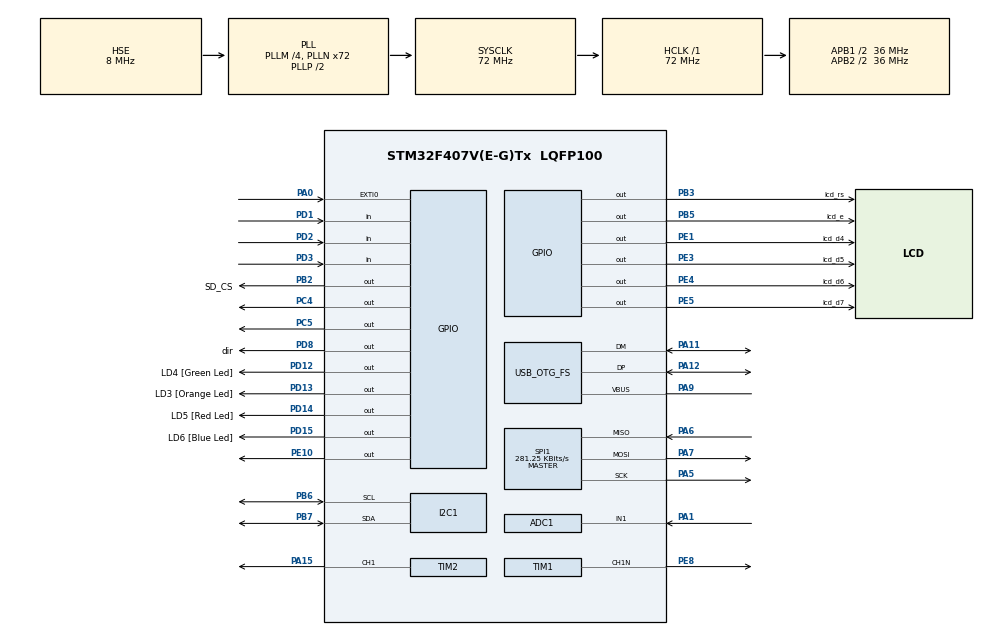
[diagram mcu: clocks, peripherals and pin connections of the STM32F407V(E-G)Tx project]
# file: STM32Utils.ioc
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ADC1.Channel-1\#ChannelRegularConversion=ADC_CHANNEL_1
ADC1.ClockPrescaler=ADC_CLOCK_SYNC_PCLK_DIV2
ADC1.ContinuousConvMode=ENABLE
ADC1.DMAContinuousRequests=ENABLE
ADC1.NbrOfConversionFlag=1
ADC1.Rank-1\#ChannelRegularConversion=1
ADC1.SamplingTime-1\#ChannelRegularConversion=ADC_SAMPLETIME_56CYCLES
ADC1.ScanConvMode=DISABLE
ADC1.master=1
Dma.ADC1.0.Direction=DMA_PERIPH_TO_MEMORY
Dma.ADC1.0.FIFOMode=DMA_FIFOMODE_DISABLE
Dma.ADC1.0.Instance=DMA2_Stream0
Dma.ADC1.0.MemDataAlignment=DMA_MDATAALIGN_WORD
Dma.ADC1.0.MemInc=DMA_MINC_ENABLE
Dma.ADC1.0.Mode=DMA_CIRCULAR
Dma.ADC1.0.PeriphDataAlignment=DMA_PDATAALIGN_WORD
Dma.ADC1.0.PeriphInc=DMA_PINC_DISABLE
Dma.ADC1.0.Priority=DMA_PRIORITY_MEDIUM
Dma.Request0=ADC1
Mcu.Family=STM32F4
Mcu.Name=STM32F407V(E-G)Tx
Mcu.Package=LQFP100
NVIC.DMA2_Stream0_IRQn=true\:0\:0\:false\:false\:true\:false\:true\:true
NVIC.EXTI0_IRQn=true\:0\:0\:false\:false\:true\:true\:true\:true
NVIC.OTG_FS_IRQn=true\:0\:0\:false\:false\:true\:false\:true\:true
NVIC.PriorityGroup=NVIC_PRIORITYGROUP_0
NVIC.TIM1_CC_IRQn=true\:0\:0\:false\:false\:true\:true\:true\:true
PA0-WKUP.GPIO_ModeDefaultEXTI=GPIO_MODE_IT_RISING
PA0-WKUP.Signal=GPXTI0
PA1.Signal=ADCx_IN1
PA11.Mode=Device_Only
PA11.Signal=USB_OTG_FS_DM
PA12.Mode=Device_Only
PA12.Signal=USB_OTG_FS_DP
PA13.GPIO_Label=SWDIO
PA13.Mode=Serial_Wire
PA13.Signal=SYS_JTMS-SWDIO
PA14.GPIO_Label=SWCLK
PA14.Mode=Serial_Wire
PA14.Signal=SYS_JTCK-SWCLK
PA15.Signal=S_TIM2_CH1_ETR
PA5.Mode=Full_Duplex_Master
PA5.Signal=SPI1_SCK
PA6.Mode=Full_Duplex_Master
PA6.Signal=SPI1_MISO
PA7.Mode=Full_Duplex_Master
PA7.Signal=SPI1_MOSI
PA9.Mode=Activate_VBUS
PA9.Signal=USB_OTG_FS_VBUS
PB2.GPIO_Label=SD_CS
PB2.Signal=GPIO_Output
PB3.GPIO_Label=lcd_rs
PB3.Signal=GPIO_Output
PB5.GPIO_Label=lcd_e
PB5.Signal=GPIO_Output
PB6.GPIO_Pu=GPIO_NOPULL
PB6.Mode=I2C
PB6.Signal=I2C1_SCL
PB7.GPIO_Pu=GPIO_NOPULL
PB7.Mode=I2C
PB7.Signal=I2C1_SDA
PC14-OSC32_IN.Mode=LSE-External-Oscillator
PC14-OSC32_IN.Signal=RCC_OSC32_IN
PC15-OSC32_OUT.Mode=LSE-External-Oscillator
PC15-OSC32_OUT.Signal=RCC_OSC32_OUT
PC4.Signal=GPIO_Output
PC5.Signal=GPIO_Output
PD1.GPIO_PuPd=GPIO_PULLUP
PD1.Signal=GPIO_Input
PD12.GPIO_Label=LD4 [Green Led]
PD12.GPIO_PuPd=GPIO_NOPULL
PD12.GPIO_Speed=GPIO_SPEED_FREQ_LOW
PD12.Signal=GPIO_Output
PD13.GPIO_Label=LD3 [Orange Led]
PD13.GPIO_PuPd=GPIO_NOPULL
PD13.GPIO_Speed=GPIO_SPEED_FREQ_LOW
PD13.Signal=GPIO_Output
PD14.GPIO_Label=LD5 [Red Led]
PD14.GPIO_PuPd=GPIO_NOPULL
PD14.GPIO_Speed=GPIO_SPEED_FREQ_LOW
PD14.Signal=GPIO_Output
PD15.GPIO_Label=LD6 [Blue Led]
PD15.GPIO_PuPd=GPIO_NOPULL
PD15.GPIO_Speed=GPIO_SPEED_FREQ_LOW
PD15.Signal=GPIO_Output
PD2.GPIO_PuPd=GPIO_PULLUP
PD2.Signal=GPIO_Input
PD3.GPIO_PuPd=GPIO_PULLUP
PD3.Signal=GPIO_Input
PD8.GPIO_Label=dir
PD8.Signal=GPIO_Output
PE1.GPIO_Label=lcd_d4
PE1.Signal=GPIO_Output
PE10.Signal=GPIO_Output
PE3.GPIO_Label=lcd_d5
PE3.Signal=GPIO_Output
PE4.GPIO_Label=lcd_d6
PE4.Signal=GPIO_Output
PE5.GPIO_Label=lcd_d7
PE5.Signal=GPIO_Output
PE8.Mode=PWM Generation1 CH1N
PE8.Signal=TIM1_CH1N
PH0-OSC_IN.GPIO_Label=PH0-OSC_IN
PH0-OSC_IN.Mode=HSE-External-Clock-Source
PH0-OSC_IN.Signal=RCC_OSC_IN
PH1-OSC_OUT.GPIO_Label=PH1-OSC_OUT
PH1-OSC_OUT.Mode=HSE-External-Clock-Source
PH1-OSC_OUT.Signal=RCC_OSC_OUT
ProjectManager.HeapSize=0x200
ProjectManager.StackSize=0x400
ProjectManager.TargetToolchain=STM32CubeIDE
RCC.48MHZClocksFreq_Value=48000000
RCC.AHBFreq_Value=72000000
RCC.APB1CLKDivider=RCC_HCLK_DIV2
RCC.APB1Freq_Value=36000000
RCC.APB1TimFreq_Value=72000000
RCC.APB2CLKDivider=RCC_HCLK_DIV2
RCC.APB2Freq_Value=36000000
RCC.APB2TimFreq_Value=72000000
RCC.CortexFreq_Value=72000000
RCC.HCLKFreq_Value=72000000
RCC.HSE_VALUE=8000000
RCC.HSI_VALUE=16000000
RCC.PLLI2SN=50
RCC.PLLM=4
RCC.PLLN=72
RCC.PLLQ=3
RCC.SYSCLKFreq_VALUE=72000000
RCC.SYSCLKSource=RCC_SYSCLKSOURCE_PLLCLK
RCC.VCOOutputFreq_Value=144000000
SH.ADCx_IN1.0=ADC1_IN1,IN1
SH.S_TIM2_CH1_ETR.0=TIM2_CH1,PWM Generation1 CH1
SPI1.BaudRatePrescaler=SPI_BAUDRATEPRESCALER_128
SPI1.CalculateBaudRate=281.25 KBits/s
SPI1.Direction=SPI_DIRECTION_2LINES
SPI1.Mode=SPI_MODE_MASTER
SPI1.VirtualType=VM_MASTER
TIM1.Channel-PWM\ Generation1\ CH1N=TIM_CHANNEL_1
TIM1.Period=1000
TIM1.Prescaler=71
TIM2.Channel-PWM\ Generation1\ CH1=TIM_CHANNEL_1
TIM2.Period=19999
TIM2.Prescaler=72
USB_DEVICE.CLASS_NAME_FS=CDC
USB_DEVICE.VirtualMode-CDC_FS=Cdc
USB_DEVICE.VirtualModeFS=Cdc_FS
USB_OTG_FS.VirtualMode=Device_Only
VP_CRC_VS_CRC.Mode=CRC_Activate
VP_FATFS_VS_Generic.Mode=User_defined
VP_TIM1_VS_ClockSourceINT.Mode=Internal
VP_TIM2_VS_ClockSourceINT.Mode=Internal
VP_USB_DEVICE_VS_USB_DEVICE_CDC_FS.Mode=CDC_FS
board=STM32F407G-DISC1

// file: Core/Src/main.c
/* USER CODE BEGIN Header */
/**
  ******************************************************************************
  * @file           : main.c
  * @brief          : Main program body
  ******************************************************************************
  * @attention
  *
  * Copyright (c) 2024 STMicroelectronics.
  * All rights reserved.
  *
  * This software is licensed under terms that can be found in the LICENSE file
  * in the root directory of this software component.
  * If no LICENSE file comes with this software, it is provided AS-IS.
  *
  ******************************************************************************
  */
/* USER CODE END Header */
#include "main.h"
#include "fatfs.h"
#include "usb_device.h"

/* USER CODE BEGIN Includes */
#include "usbd_cdc_if.h"
#include "STEP_MOTOR_lib.h"
#include "BASIC_GPIO_lib.h"
#include "FLASH_PROCESS_lib.h"
#include "SERVO_lib.h"
#include "lcd_i2c.h"
#include <string.h>
/* USER CODE END Includes */

/* USER CODE BEGIN PTD */
typedef enum {
    PARAMETER_NEXT_SET =1,
    PARAMETER_PREV_SET =2 ,
    PARAMETER_APPLY = 3
}ParameterAction_e;

/* USER CODE END PTD */

/* USER CODE BEGIN PD */
#define ADC_BUFFER_SIZE 1
#define SLAVE_ADDRESS_LCD 0x4E

/* USER CODE END PD */

ADC_HandleTypeDef hadc1;
DMA_HandleTypeDef hdma_adc1;

CRC_HandleTypeDef hcrc;

I2C_HandleTypeDef hi2c1;

SPI_HandleTypeDef hspi1;

TIM_HandleTypeDef htim1;
TIM_HandleTypeDef htim2;

/* USER CODE BEGIN PV */

//Step_Motor
step_config step1;
int adim;
int yon;

//Servo
servo_config servo1;
int angle;

//Info_led
Status_led_s statusLED;

//Flash
uint32_t flash_ref;

// USB_OTG/ADC
uint16_t adc_buffer[ADC_BUFFER_SIZE];
int read_step_value;  // adc den gelen degeri yapilandirip step bilgisi olarak veriyorum
uint8_t send_data[50];

//CRC
uint32_t crc_value;
uint32_t data_buffer[1];

// enum
ParameterAction_e currentAction;

//SD CARD
FATFS fs;
FIL fil;
FRESULT res;
UINT bw;

/* USER CODE END PV */

void SystemClock_Config(void);
static void MX_GPIO_Init(void);
static void MX_DMA_Init(void);
static void MX_ADC1_Init(void);
static void MX_TIM1_Init(void);
static void MX_TIM2_Init(void);
static void MX_I2C1_Init(void);
static void MX_CRC_Init(void);
static void MX_SPI1_Init(void);

/* USER CODE BEGIN 0 */
void HAL_TIM_PWM_PulseFinishedCallback(TIM_HandleTypeDef * htim)
{
	if (htim-> Instance == TIM1){

		if(htim->Channel == HAL_TIM_ACTIVE_CHANNEL_1)
		{
			step1.step_set.sayac++;
		}

		step_durdur(&step1);

		}

}

// Yapilan ayarlari kaydetmek icin
void HAL_GPIO_EXTI_Callback(uint16_t GPIO_Pin){
    if (GPIO_Pin == GPIO_PIN_0)
    {
    	Flash_WR(0x080E0000, flash_ref);
    }

}

void flag_check(){
    if (HAL_GPIO_ReadPin(GPIOD, GPIO_PIN_1) == GPIO_PIN_RESET){
    	currentAction = PARAMETER_NEXT_SET;
    }
    else if (HAL_GPIO_ReadPin(GPIOD, GPIO_PIN_2) == GPIO_PIN_RESET){
    	currentAction = PARAMETER_PREV_SET;
    }
    else if (HAL_GPIO_ReadPin(GPIOD, GPIO_PIN_3) == GPIO_PIN_RESET){
    	currentAction = PARAMETER_APPLY;
    }
}

void process(int currentAction, int value){
	switch(currentAction){
		case PARAMETER_NEXT_SET:
			// burada lcd  step satirina  bilgisi devamina adim yazdirilacak
			adim = value;
			status_led_process(&statusLED,LED_STAY);
			flash_ref = value;
			break;
		case PARAMETER_PREV_SET:
			// burada lcd gerekli satira yon bilgisi devamina ileri geri yazdirilacak
			if(value < adim){
				yon = Step_GERI;
			}
			else{
				yon = Step_ILERI;
			}
			status_led_process(&statusLED,LED_STAY);
			break;
		case PARAMETER_APPLY:
			status_led_process(&statusLED,LED_START);
			step(&step1, value, yon);
			step_durdur(&step1);
			break;
	}
}

void SD_Init(void) {
    res = f_mount(&fs, "", 1);
    if (res == FR_OK) {
        printf("SD Card mounted successfully.\n");
    } else {
        printf("Failed to mount SD Card.\n");
    }
}

void SD_WriteData(const char *data){
	res = f_open(&fil, "data.txt", FA_OPEN_APPEND | FA_WRITE);
	if (res == FR_OK) {
		res = f_write(&fil, data, strlen(data), &bw);  // Use strlen(data) for proper size
		if (res == FR_OK) {
			printf("Data written successfully.\n");
			//burada birsey gosteririm belki ledi
		} else {
			printf("Failed to write data. Error: %d\n", res);
			//burada birsey gosteririm belki ledi
		}
		f_close(&fil);
	} else {
		//buraya birsey eklerim
		//burada birsey gosteririm belki ledi
		printf("Data written error.\n");
	}
}

void SD_Select(void) {
    HAL_GPIO_WritePin(SD_CS_GPIO_Port, SD_CS_Pin, GPIO_PIN_RESET);
}

void SD_Deselect(void) {
    HAL_GPIO_WritePin(SD_CS_GPIO_Port, SD_CS_Pin, GPIO_PIN_SET);
}

/* USER CODE END 0 */

int main(void)
{

  /* MCU Configuration--------------------------------------------------------*/

  /* Reset of all peripherals, Initializes the Flash interface and the Systick. */
  HAL_Init();
  /* USER CODE BEGIN Init */
//Led
  status_led_init(&statusLED, GPIOD, GPIO_PIN_13, GPIOD, GPIO_PIN_14, GPIOD, GPIO_PIN_15, GPIOD, GPIO_PIN_12);
//StepMotor
  step_init(&step1, &htim1, TIM_CHANNEL_1, dir_GPIO_Port, dir_Pin);
//Servo
  init_servo(&servo1, GPIOA, GPIO_PIN_15, &htim2, TIM_CHANNEL_1);
//Lcd
//  LCD_Init(&hi2c1);

  //SD card
  MX_SPI1_Init();
  MX_FATFS_Init();
  SD_Init();
  /* USER CODE END Init */

  /* Configure the system clock */
  SystemClock_Config();

  /* Initialize all configured peripherals */
  MX_GPIO_Init();
  MX_DMA_Init();
  MX_ADC1_Init();
  MX_TIM1_Init();
  MX_USB_DEVICE_Init();
  MX_TIM2_Init();
  MX_I2C1_Init();
  MX_CRC_Init();
  MX_SPI1_Init();
  MX_FATFS_Init();
  /* USER CODE BEGIN 2 */

  HAL_ADC_Start_DMA(&hadc1, (uint32_t*)adc_buffer, ADC_BUFFER_SIZE);
  status_led_process(&statusLED, LED_GO);
  HAL_Delay(5000);

  read_step_value = Flash_RD(0x080E0000);

  SD_Select();
  SD_WriteData("test ABC \n");

//  LCD_Test();

  /* USER CODE END 2 */

  /* Infinite loop */
  while (1)
  {

    /* USER CODE BEGIN 3 */
//	if(currentAction == 0){
//		flag_check();
//		process(currentAction, read_step_value);
//		servo_angle(&servo1, read_step_value);
//		HAL_Delay(1000);
//	}
//
//	else{
//		read_step_value = map(adc_buffer[0], 0, 4095, 0, 180);
//		snprintf((char*)send_data, sizeof(send_data), "%d\n", read_step_value);
//		while (CDC_Transmit_FS((uint8_t*)send_data, strlen((char*)send_data)) == USBD_BUSY) {
//			HAL_Delay(1);
//		}
//
//		flag_check();
//		process(currentAction, read_step_value);
//	}
//	angle = map(adc_buffer[0],0,4095,0,180);
//	flash_ref = angle;
//	servo_angle(&servo1, angle);
//	HAL_Delay(1000);

	  read_step_value = map(adc_buffer[0], 0, 4095, 0, 180);
	  data_buffer[0] = (uint32_t)read_step_value;
	  crc_value = HAL_CRC_Calculate(&hcrc, data_buffer, 1);
	  snprintf((char*)send_data, sizeof(send_data), "%d,%lu\n", read_step_value, crc_value);
	  while (CDC_Transmit_FS((uint8_t*)send_data, strlen((char*)send_data)) == USBD_BUSY) {
	      HAL_Delay(1);
	  }

  }
  /* USER CODE END 3 */
}

void SystemClock_Config(void)
{
  RCC_OscInitTypeDef RCC_OscInitStruct = {0};
  RCC_ClkInitTypeDef RCC_ClkInitStruct = {0};

  /** Configure the main internal regulator output voltage
  */
  __HAL_RCC_PWR_CLK_ENABLE();
  __HAL_PWR_VOLTAGESCALING_CONFIG(PWR_REGULATOR_VOLTAGE_SCALE1);

  /** Initializes the RCC Oscillators according to the specified parameters
  * in the RCC_OscInitTypeDef structure.
  */
  RCC_OscInitStruct.OscillatorType = RCC_OSCILLATORTYPE_HSE;
  RCC_OscInitStruct.HSEState = RCC_HSE_BYPASS;
  RCC_OscInitStruct.PLL.PLLState = RCC_PLL_ON;
  RCC_OscInitStruct.PLL.PLLSource = RCC_PLLSOURCE_HSE;
  RCC_OscInitStruct.PLL.PLLM = 4;
  RCC_OscInitStruct.PLL.PLLN = 72;
  RCC_OscInitStruct.PLL.PLLP = RCC_PLLP_DIV2;
  RCC_OscInitStruct.PLL.PLLQ = 3;
  if (HAL_RCC_OscConfig(&RCC_OscInitStruct) != HAL_OK)
  {
    Error_Handler();
  }

  /** Initializes the CPU, AHB and APB buses clocks
  */
  RCC_ClkInitStruct.ClockType = RCC_CLOCKTYPE_HCLK|RCC_CLOCKTYPE_SYSCLK
                              |RCC_CLOCKTYPE_PCLK1|RCC_CLOCKTYPE_PCLK2;
  RCC_ClkInitStruct.SYSCLKSource = RCC_SYSCLKSOURCE_PLLCLK;
  RCC_ClkInitStruct.AHBCLKDivider = RCC_SYSCLK_DIV1;
  RCC_ClkInitStruct.APB1CLKDivider = RCC_HCLK_DIV2;
  RCC_ClkInitStruct.APB2CLKDivider = RCC_HCLK_DIV2;

  if (HAL_RCC_ClockConfig(&RCC_ClkInitStruct, FLASH_LATENCY_2) != HAL_OK)
  {
    Error_Handler();
  }
}

static void MX_ADC1_Init(void)
{

  ADC_ChannelConfTypeDef sConfig = {0};

  /** Configure the global features of the ADC (Clock, Resolution, Data Alignment and number of conversion)
  */
  hadc1.Instance = ADC1;
  hadc1.Init.ClockPrescaler = ADC_CLOCK_SYNC_PCLK_DIV2;
  hadc1.Init.Resolution = ADC_RESOLUTION_12B;
  hadc1.Init.ScanConvMode = DISABLE;
  hadc1.Init.ContinuousConvMode = ENABLE;
  hadc1.Init.DiscontinuousConvMode = DISABLE;
  hadc1.Init.ExternalTrigConvEdge = ADC_EXTERNALTRIGCONVEDGE_NONE;
  hadc1.Init.ExternalTrigConv = ADC_SOFTWARE_START;
  hadc1.Init.DataAlign = ADC_DATAALIGN_RIGHT;
  hadc1.Init.NbrOfConversion = 1;
  hadc1.Init.DMAContinuousRequests = ENABLE;
  hadc1.Init.EOCSelection = ADC_EOC_SINGLE_CONV;
  if (HAL_ADC_Init(&hadc1) != HAL_OK)
  {
    Error_Handler();
  }

  /** Configure for the selected ADC regular channel its corresponding rank in the sequencer and its sample time.
  */
  sConfig.Channel = ADC_CHANNEL_1;
  sConfig.Rank = 1;
  sConfig.SamplingTime = ADC_SAMPLETIME_56CYCLES;
  if (HAL_ADC_ConfigChannel(&hadc1, &sConfig) != HAL_OK)
  {
    Error_Handler();
  }

}

static void MX_CRC_Init(void)
{

  hcrc.Instance = CRC;
  if (HAL_CRC_Init(&hcrc) != HAL_OK)
  {
    Error_Handler();
  }

}

static void MX_I2C1_Init(void)
{

  hi2c1.Instance = I2C1;
  hi2c1.Init.ClockSpeed = 100000;
  hi2c1.Init.DutyCycle = I2C_DUTYCYCLE_2;
  hi2c1.Init.OwnAddress1 = 0;
  hi2c1.Init.AddressingMode = I2C_ADDRESSINGMODE_7BIT;
  hi2c1.Init.DualAddressMode = I2C_DUALADDRESS_DISABLE;
  hi2c1.Init.OwnAddress2 = 0;
  hi2c1.Init.GeneralCallMode = I2C_GENERALCALL_DISABLE;
  hi2c1.Init.NoStretchMode = I2C_NOSTRETCH_DISABLE;
  if (HAL_I2C_Init(&hi2c1) != HAL_OK)
  {
    Error_Handler();
  }

}

static void MX_SPI1_Init(void)
{

  /* SPI1 parameter configuration*/
  hspi1.Instance = SPI1;
  hspi1.Init.Mode = SPI_MODE_MASTER;
  hspi1.Init.Direction = SPI_DIRECTION_2LINES;
  hspi1.Init.DataSize = SPI_DATASIZE_8BIT;
  hspi1.Init.CLKPolarity = SPI_POLARITY_LOW;
  hspi1.Init.CLKPhase = SPI_PHASE_1EDGE;
  hspi1.Init.NSS = SPI_NSS_SOFT;
  hspi1.Init.BaudRatePrescaler = SPI_BAUDRATEPRESCALER_128;
  hspi1.Init.FirstBit = SPI_FIRSTBIT_MSB;
  hspi1.Init.TIMode = SPI_TIMODE_DISABLE;
  hspi1.Init.CRCCalculation = SPI_CRCCALCULATION_DISABLE;
  hspi1.Init.CRCPolynomial = 10;
  if (HAL_SPI_Init(&hspi1) != HAL_OK)
  {
    Error_Handler();
  }

}

static void MX_TIM1_Init(void)
{

  TIM_ClockConfigTypeDef sClockSourceConfig = {0};
  TIM_MasterConfigTypeDef sMasterConfig = {0};
  TIM_OC_InitTypeDef sConfigOC = {0};
  TIM_BreakDeadTimeConfigTypeDef sBreakDeadTimeConfig = {0};

  htim1.Instance = TIM1;
  htim1.Init.Prescaler = 71;
  htim1.Init.CounterMode = TIM_COUNTERMODE_UP;
  htim1.Init.Period = 1000;
  htim1.Init.ClockDivision = TIM_CLOCKDIVISION_DIV1;
  htim1.Init.RepetitionCounter = 0;
  htim1.Init.AutoReloadPreload = TIM_AUTORELOAD_PRELOAD_DISABLE;
  if (HAL_TIM_Base_Init(&htim1) != HAL_OK)
  {
    Error_Handler();
  }
  sClockSourceConfig.ClockSource = TIM_CLOCKSOURCE_INTERNAL;
  if (HAL_TIM_ConfigClockSource(&htim1, &sClockSourceConfig) != HAL_OK)
  {
    Error_Handler();
  }
  if (HAL_TIM_PWM_Init(&htim1) != HAL_OK)
  {
    Error_Handler();
  }
  sMasterConfig.MasterOutputTrigger = TIM_TRGO_RESET;
  sMasterConfig.MasterSlaveMode = TIM_MASTERSLAVEMODE_DISABLE;
  if (HAL_TIMEx_MasterConfigSynchronization(&htim1, &sMasterConfig) != HAL_OK)
  {
    Error_Handler();
  }
  sConfigOC.OCMode = TIM_OCMODE_PWM1;
  sConfigOC.Pulse = 0;
  sConfigOC.OCPolarity = TIM_OCPOLARITY_HIGH;
  sConfigOC.OCNPolarity = TIM_OCNPOLARITY_HIGH;
  sConfigOC.OCFastMode = TIM_OCFAST_DISABLE;
  sConfigOC.OCIdleState = TIM_OCIDLESTATE_RESET;
  sConfigOC.OCNIdleState = TIM_OCNIDLESTATE_RESET;
  if (HAL_TIM_PWM_ConfigChannel(&htim1, &sConfigOC, TIM_CHANNEL_1) != HAL_OK)
  {
    Error_Handler();
  }
  sBreakDeadTimeConfig.OffStateRunMode = TIM_OSSR_DISABLE;
  sBreakDeadTimeConfig.OffStateIDLEMode = TIM_OSSI_DISABLE;
  sBreakDeadTimeConfig.LockLevel = TIM_LOCKLEVEL_OFF;
  sBreakDeadTimeConfig.DeadTime = 0;
  sBreakDeadTimeConfig.BreakState = TIM_BREAK_DISABLE;
  sBreakDeadTimeConfig.BreakPolarity = TIM_BREAKPOLARITY_HIGH;
  sBreakDeadTimeConfig.AutomaticOutput = TIM_AUTOMATICOUTPUT_DISABLE;
  if (HAL_TIMEx_ConfigBreakDeadTime(&htim1, &sBreakDeadTimeConfig) != HAL_OK)
  {
    Error_Handler();
  }
  HAL_TIM_MspPostInit(&htim1);

}

static void MX_TIM2_Init(void)
{

  TIM_ClockConfigTypeDef sClockSourceConfig = {0};
  TIM_MasterConfigTypeDef sMasterConfig = {0};
  TIM_OC_InitTypeDef sConfigOC = {0};

  htim2.Instance = TIM2;
  htim2.Init.Prescaler = 72;
  htim2.Init.CounterMode = TIM_COUNTERMODE_UP;
  htim2.Init.Period = 19999;
  htim2.Init.ClockDivision = TIM_CLOCKDIVISION_DIV1;
  htim2.Init.AutoReloadPreload = TIM_AUTORELOAD_PRELOAD_DISABLE;
  if (HAL_TIM_Base_Init(&htim2) != HAL_OK)
  {
    Error_Handler();
  }
  sClockSourceConfig.ClockSource = TIM_CLOCKSOURCE_INTERNAL;
  if (HAL_TIM_ConfigClockSource(&htim2, &sClockSourceConfig) != HAL_OK)
  {
    Error_Handler();
  }
  if (HAL_TIM_PWM_Init(&htim2) != HAL_OK)
  {
    Error_Handler();
  }
  sMasterConfig.MasterOutputTrigger = TIM_TRGO_RESET;
  sMasterConfig.MasterSlaveMode = TIM_MASTERSLAVEMODE_DISABLE;
  if (HAL_TIMEx_MasterConfigSynchronization(&htim2, &sMasterConfig) != HAL_OK)
  {
    Error_Handler();
  }
  sConfigOC.OCMode = TIM_OCMODE_PWM1;
  sConfigOC.Pulse = 0;
  sConfigOC.OCPolarity = TIM_OCPOLARITY_HIGH;
  sConfigOC.OCFastMode = TIM_OCFAST_DISABLE;
  if (HAL_TIM_PWM_ConfigChannel(&htim2, &sConfigOC, TIM_CHANNEL_1) != HAL_OK)
  {
    Error_Handler();
  }
  HAL_TIM_MspPostInit(&htim2);

}

static void MX_DMA_Init(void)
{

  /* DMA controller clock enable */
  __HAL_RCC_DMA2_CLK_ENABLE();

  /* DMA interrupt init */
  /* DMA2_Stream0_IRQn interrupt configuration */
  HAL_NVIC_SetPriority(DMA2_Stream0_IRQn, 0, 0);
  HAL_NVIC_EnableIRQ(DMA2_Stream0_IRQn);

}

static void MX_GPIO_Init(void)
{
  GPIO_InitTypeDef GPIO_InitStruct = {0};

  /* GPIO Ports Clock Enable */
  __HAL_RCC_GPIOE_CLK_ENABLE();
  __HAL_RCC_GPIOC_CLK_ENABLE();
  __HAL_RCC_GPIOH_CLK_ENABLE();
  __HAL_RCC_GPIOA_CLK_ENABLE();
  __HAL_RCC_GPIOB_CLK_ENABLE();
  __HAL_RCC_GPIOD_CLK_ENABLE();

  /*Configure GPIO pin Output Level */
  HAL_GPIO_WritePin(GPIOE, lcd_d5_Pin|lcd_d6_Pin|lcd_d7_Pin|GPIO_PIN_10
                          |lcd_d4_Pin, GPIO_PIN_RESET);

  /*Configure GPIO pin Output Level */
  HAL_GPIO_WritePin(GPIOC, GPIO_PIN_4|GPIO_PIN_5, GPIO_PIN_RESET);

  /*Configure GPIO pin Output Level */
  HAL_GPIO_WritePin(GPIOB, SD_CS_Pin|lcd_rs_Pin|lcd_e_Pin, GPIO_PIN_RESET);

  /*Configure GPIO pin Output Level */
  HAL_GPIO_WritePin(GPIOD, dir_Pin|LD4_Pin|LD3_Pin|LD5_Pin
                          |LD6_Pin, GPIO_PIN_RESET);

  /*Configure GPIO pins : lcd_d5_Pin lcd_d6_Pin lcd_d7_Pin PE10
                           lcd_d4_Pin */
  GPIO_InitStruct.Pin = lcd_d5_Pin|lcd_d6_Pin|lcd_d7_Pin|GPIO_PIN_10
                          |lcd_d4_Pin;
  GPIO_InitStruct.Mode = GPIO_MODE_OUTPUT_PP;
  GPIO_InitStruct.Pull = GPIO_NOPULL;
  GPIO_InitStruct.Speed = GPIO_SPEED_FREQ_LOW;
  HAL_GPIO_Init(GPIOE, &GPIO_InitStruct);

  /*Configure GPIO pin : PA0 */
  GPIO_InitStruct.Pin = GPIO_PIN_0;
  GPIO_InitStruct.Mode = GPIO_MODE_IT_RISING;
  GPIO_InitStruct.Pull = GPIO_NOPULL;
  HAL_GPIO_Init(GPIOA, &GPIO_InitStruct);

  /*Configure GPIO pins : PC4 PC5 */
  GPIO_InitStruct.Pin = GPIO_PIN_4|GPIO_PIN_5;
  GPIO_InitStruct.Mode = GPIO_MODE_OUTPUT_PP;
  GPIO_InitStruct.Pull = GPIO_NOPULL;
  GPIO_InitStruct.Speed = GPIO_SPEED_FREQ_LOW;
  HAL_GPIO_Init(GPIOC, &GPIO_InitStruct);

  /*Configure GPIO pins : SD_CS_Pin lcd_rs_Pin lcd_e_Pin */
  GPIO_InitStruct.Pin = SD_CS_Pin|lcd_rs_Pin|lcd_e_Pin;
  GPIO_InitStruct.Mode = GPIO_MODE_OUTPUT_PP;
  GPIO_InitStruct.Pull = GPIO_NOPULL;
  GPIO_InitStruct.Speed = GPIO_SPEED_FREQ_LOW;
  HAL_GPIO_Init(GPIOB, &GPIO_InitStruct);

  /*Configure GPIO pins : dir_Pin LD4_Pin LD3_Pin LD5_Pin
                           LD6_Pin */
  GPIO_InitStruct.Pin = dir_Pin|LD4_Pin|LD3_Pin|LD5_Pin
                          |LD6_Pin;
  GPIO_InitStruct.Mode = GPIO_MODE_OUTPUT_PP;
  GPIO_InitStruct.Pull = GPIO_NOPULL;
  GPIO_InitStruct.Speed = GPIO_SPEED_FREQ_LOW;
  HAL_GPIO_Init(GPIOD, &GPIO_InitStruct);

  /*Configure GPIO pins : PD1 PD2 PD3 */
  GPIO_InitStruct.Pin = GPIO_PIN_1|GPIO_PIN_2|GPIO_PIN_3;
  GPIO_InitStruct.Mode = GPIO_MODE_INPUT;
  GPIO_InitStruct.Pull = GPIO_PULLUP;
  HAL_GPIO_Init(GPIOD, &GPIO_InitStruct);

  /* EXTI interrupt init*/
  HAL_NVIC_SetPriority(EXTI0_IRQn, 0, 0);
  HAL_NVIC_EnableIRQ(EXTI0_IRQn);

}

void Error_Handler(void)
{
  __disable_irq();
  while (1)
  {
  }
}
